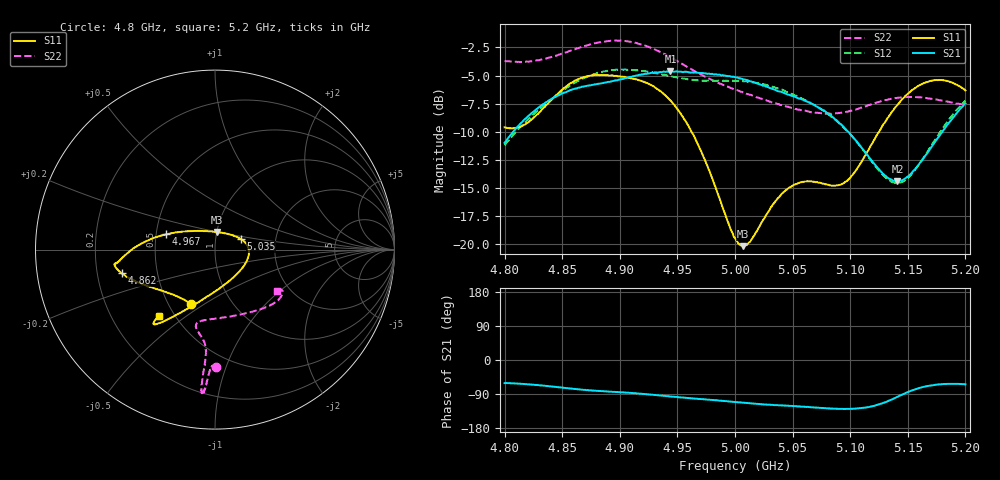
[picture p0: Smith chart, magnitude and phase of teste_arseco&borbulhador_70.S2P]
! Network Analyzer HP8722D
! Hewlett-Packard
! Data name: Linha & Wilkinson
! Saver's name: Rodrigo Anjos
! Comments: Teste da utilização de aquisição
! continua pelo VNA HP8722D
! Time and date: 15/4/2025 16:13
!  Frequency  S11  S21  S12  S22
# HZ  S  MA R 50
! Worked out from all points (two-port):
!   401 points, 4.8 GHz to 5.2 GHz, reference 50 ohm
!   highest |S21| = -4.62 dB at 4.944 GHz (marker M1); lowest = -14.4 dB at 5.141 GHz (marker M2)
!   |S21| within 3 dB of the highest: 4.832 GHz to 5.069 GHz (236.4 MHz wide, 4.77 % of centre); 5.19853 GHz to end of sweep
!   lowest |S11| = -20.2 dB at 5.007 GHz (marker M3), VSWR 1.22, Z = 50.2 + j9.88 ohm
!   |S11| at or under -10 dB: 4.962 GHz to 5.125 GHz (162.6 MHz wide, 3.22 % of centre)
!   |S22| runs from -8.4 to -1.9 dB; largest |S21 - S12| = 0.88
!   S11 on the Smith chart (normalised r, x): 4.8 GHz: 0.65, -0.44; 4.862 GHz: 0.31, -0.11; 4.967 GHz: 0.57, +0.11; 5.035 GHz: 1.32, +0.16; 5.2 GHz: 0.41, -0.40
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4.8e9  0.3308 -113.9  0.2825 -60.9  0.2755 -175.1  0.6538 -89.4
4.819e9  0.3447 -133.6  0.3652 -63.8  0.3531 -173.4  0.6492 -91.2
4.862e9  0.5361 -165.7  0.4927 -76.8  0.5258 -176.4  0.7403 -93.5
4.867e9  0.5494 -167.6  0.5017 -78.3  0.5425 -177.5  0.7533 -93.7
4.9e9  0.5576 -172.2  0.5403 -84.9  0.5968 175.7  0.8028 -95.1
4.934e9  0.4845 -178.0  0.5811 -93.3  0.5733 171.9  0.7198 -95.5
4.944e9  0.4355 177.5  0.5872 -96.2  0.5579 172.0  0.6777 -95.3
4.967e9  0.284 162.4  0.5787 -102.1  0.5357 174.1  0.58 -95.0
5e9  0.1065 107.0  0.5524 -111.1  0.5341 176.6  0.4859 -99.3
5.007e9  0.09818 83.2  0.5412 -112.7  0.5298 176.3  0.473 -100.8
5.014e9  0.1044 61.2  0.529 -114.6  0.5278 176.2  0.4612 -102.5
5.035e9  0.1551 22.7  0.4853 -118.9  0.4967 174.9  0.4244 -103.8
5.051e9  0.184 5.8  0.4546 -121.7  0.4614 174.5  0.4019 -100.0
5.067e9  0.1904 -11.4  0.4209 -124.8  0.421 173.9  0.3866 -91.8
5.087e9  0.1823 -43.8  0.3586 -128.6  0.3579 173.8  0.382 -77.0
5.098e9  0.1933 -67.2  0.3175 -129.0  0.3167 174.4  0.3892 -67.6
5.134e9  0.3735 -116.2  0.1957 -106.8  0.1924 -159.6  0.4415 -43.4
5.141e9  0.4167 -120.1  0.1906 -97.1  0.1873 -148.8  0.4477 -40.2
5.153e9  0.4816 -125.0  0.2068 -80.9  0.2043 -130.1  0.4514 -35.9
5.17e9  0.5327 -128.6  0.2681 -67.1  0.2728 -113.0  0.4441 -32.1
5.184e9  0.532 -130.0  0.3385 -63.1  0.3488 -107.2  0.4314 -31.1
5.2e9  0.4828 -130.4  0.4231 -64.0  0.4347 -106.1  0.4157 -33.4
